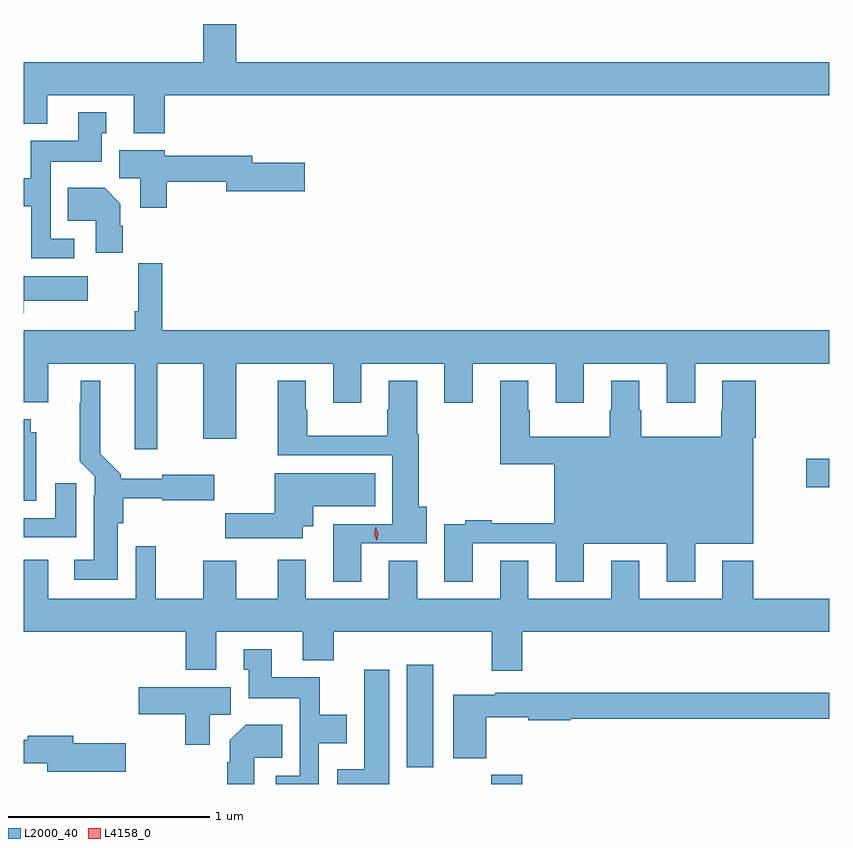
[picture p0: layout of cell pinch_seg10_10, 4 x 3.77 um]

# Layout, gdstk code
import gdstk
lib = gdstk.Library(unit=1e-6, precision=1e-09)
def R(c, l, rs):  # rectangles x0, y0, x1, y1
    for r in rs: c.add(gdstk.rectangle(r[:2], r[2:], *l))
def P(c, l, *ps):  # polygons
    for p in ps: c.add(gdstk.Polygon(p, *l))
L2000_40 = (2000, 40)
L4158_0 = (4158, 0)

pinch_seg10_10 = lib.new_cell('pinch_seg10_10')
R(pinch_seg10_10, L2000_40, [(1065.537,1252.941,1065.692,1252.987), (1065.119,1253.025,1065.25,1253.533), (1067.1,1254.413,1067.216,1254.555)])
P(pinch_seg10_10, L2000_40, [(1063.916,1256.36),(1067.216,1256.36),(1067.216,1256.524),(1064.272,1256.524),(1064.272,1256.713),(1064.108,1256.713),(1064.108,1256.524),(1063.216,1256.524),(1063.216,1256.219),(1063.333,1256.219),(1063.333,1256.36),(1063.763,1256.36),(1063.763,1256.171),(1063.916,1256.171)],
  [(1063.468,1255.647),(1063.35,1255.647),(1063.35,1256.03),(1063.603,1256.03),(1063.603,1256.172),(1063.627,1256.172),(1063.627,1256.275),(1063.487,1256.275),(1063.487,1256.134),(1063.252,1256.134),(1063.252,1255.948),(1063.216,1255.948),(1063.216,1255.808),(1063.254,1255.808),(1063.254,1255.551),(1063.468,1255.551)],
  [(1063.926,1255.93),(1064.222,1255.93),(1064.222,1255.883),(1064.611,1255.883),(1064.611,1256.025),(1064.35,1256.025),(1064.35,1256.059),(1063.918,1256.059),(1063.918,1256.086),(1063.691,1256.086),(1063.691,1255.948),(1063.796,1255.948),(1063.796,1255.8),(1063.926,1255.8)],
  [(1063.709,1255.712),(1063.696,1255.712),(1063.696,1255.822),(1063.618,1255.9),(1063.435,1255.9),(1063.435,1255.736),(1063.574,1255.736),(1063.574,1255.578),(1063.709,1255.578)],
  [(1063.217,1255.34),(1063.534,1255.34),(1063.534,1255.462),(1063.216,1255.462),(1063.216,1255.278),(1063.217,1255.278)],
  [(1063.904,1255.525),(1063.786,1255.525),(1063.786,1255.288),(1063.768,1255.288),(1063.768,1255.192),(1063.216,1255.192),(1063.216,1254.836),(1063.339,1254.836),(1063.339,1255.028),(1063.769,1255.028),(1063.769,1254.603),(1063.879,1254.603),(1063.879,1255.028),(1064.108,1255.028),(1064.108,1254.654),(1064.272,1254.654),(1064.272,1255.028),(1064.753,1255.028),(1064.753,1254.834),(1064.893,1254.834),(1064.893,1255.028),(1065.305,1255.028),(1065.305,1254.834),(1065.445,1254.834),(1065.445,1255.028),(1065.857,1255.028),(1065.857,1254.834),(1065.997,1254.834),(1065.997,1255.028),(1066.409,1255.028),(1066.409,1254.834),(1066.549,1254.834),(1066.549,1255.028),(1067.216,1255.028),(1067.216,1255.192),(1063.904,1255.192)],
  [(1065.445,1254.135),(1065.857,1254.135),(1065.857,1253.946),(1065.997,1253.946),(1065.997,1254.134),(1066.409,1254.134),(1066.409,1253.946),(1066.549,1253.946),(1066.549,1254.134),(1066.837,1254.134),(1066.837,1254.66),(1066.85,1254.66),(1066.85,1254.943),(1066.685,1254.943),(1066.685,1254.795),(1066.678,1254.795),(1066.678,1254.664),(1066.281,1254.664),(1066.281,1254.795),(1066.273,1254.795),(1066.273,1254.943),(1066.133,1254.943),(1066.133,1254.795),(1066.126,1254.795),(1066.126,1254.664),(1065.729,1254.664),(1065.729,1254.795),(1065.721,1254.795),(1065.721,1254.943),(1065.581,1254.943),(1065.581,1254.527),(1065.851,1254.527),(1065.851,1254.236),(1065.541,1254.236),(1065.541,1254.251),(1065.409,1254.251),(1065.409,1254.231),(1065.305,1254.231),(1065.305,1253.946),(1065.445,1253.946)],
  [(1063.684,1254.234),(1063.71,1254.234),(1063.71,1254.358),(1063.904,1254.358),(1063.904,1254.349),(1064.162,1254.349),(1064.162,1254.476),(1063.904,1254.476),(1063.904,1254.457),(1063.698,1254.457),(1063.698,1254.478),(1063.597,1254.58),(1063.597,1254.943),(1063.499,1254.943),(1063.499,1254.833),(1063.495,1254.833),(1063.495,1254.542),(1063.569,1254.468),(1063.569,1254.374),(1063.565,1254.374),(1063.565,1254.055),(1063.467,1254.055),(1063.467,1253.954),(1063.684,1253.954)],
  [(1064.893,1254.135),(1065.217,1254.135),(1065.217,1254.316),(1065.177,1254.316),(1065.177,1254.676),(1065.169,1254.676),(1065.169,1254.943),(1065.029,1254.943),(1065.029,1254.798),(1065.022,1254.798),(1065.022,1254.67),(1064.625,1254.67),(1064.625,1254.798),(1064.617,1254.798),(1064.617,1254.943),(1064.477,1254.943),(1064.477,1254.573),(1065.047,1254.573),(1065.047,1254.231),(1064.753,1254.231),(1064.753,1253.946),(1064.893,1253.946)],
  [(1063.279,1254.687),(1063.252,1254.687),(1063.252,1254.751),(1063.216,1254.751),(1063.216,1254.346),(1063.279,1254.346)],
  [(1064.602,1254.221),(1064.653,1254.221),(1064.653,1254.32),(1064.962,1254.32),(1064.962,1254.484),(1064.462,1254.484),(1064.462,1254.285),(1064.218,1254.285),(1064.218,1254.161),(1064.602,1254.161)],
  [(1063.477,1254.433),(1063.373,1254.433),(1063.373,1254.261),(1063.216,1254.261),(1063.216,1254.165),(1063.477,1254.165)],
  [(1065.692,1253.696),(1067.216,1253.696),(1067.216,1253.86),(1066.838,1253.86),(1066.838,1254.049),(1066.685,1254.049),(1066.685,1253.86),(1066.273,1253.86),(1066.273,1254.049),(1066.133,1254.049),(1066.133,1253.86),(1065.721,1253.86),(1065.721,1254.05),(1065.581,1254.05),(1065.581,1253.86),(1065.169,1253.86),(1065.169,1254.049),(1065.029,1254.049),(1065.029,1253.86),(1064.617,1253.86),(1064.617,1254.055),(1064.477,1254.055),(1064.477,1253.86),(1064.272,1253.86),(1064.272,1254.049),(1064.108,1254.049),(1064.108,1253.86),(1063.872,1253.86),(1063.872,1254.121),(1063.773,1254.121),(1063.773,1253.86),(1063.339,1253.86),(1063.339,1254.055),(1063.216,1254.055),(1063.216,1253.696),(1064.021,1253.696),(1064.021,1253.507),(1064.173,1253.507),(1064.173,1253.696),(1064.603,1253.696),(1064.603,1253.555),(1064.756,1253.555),(1064.756,1253.696),(1065.539,1253.696),(1065.539,1253.502),(1065.692,1253.502)],
  [(1064.682,1253.144),(1064.821,1253.144),(1064.821,1253.284),(1064.685,1253.284),(1064.685,1253.47),(1064.449,1253.47),(1064.449,1253.611),(1064.309,1253.611),(1064.309,1253.508),(1064.333,1253.508),(1064.333,1253.366),(1064.586,1253.366),(1064.586,1252.983),(1064.469,1252.983),(1064.469,1252.941),(1064.682,1252.941)],
  [(1065.031,1253.509),(1064.906,1253.509),(1064.906,1253.014),(1064.772,1253.014),(1064.772,1252.941),(1065.031,1252.941)],
  [(1064.14,1253.284),(1064.245,1253.284),(1064.245,1253.422),(1063.788,1253.422),(1063.788,1253.288),(1064.018,1253.288),(1064.018,1253.136),(1064.14,1253.136)],
  [(1065.512,1253.273),(1065.72,1253.273),(1065.72,1253.258),(1065.93,1253.258),(1065.93,1253.266),(1067.216,1253.266),(1067.216,1253.395),(1065.558,1253.395),(1065.558,1253.383),(1065.35,1253.383),(1065.35,1253.069),(1065.512,1253.069)],
  [(1064.362,1253.072),(1064.501,1253.072),(1064.501,1253.236),(1064.318,1253.236),(1064.24,1253.158),(1064.24,1253.048),(1064.228,1253.048),(1064.228,1252.941),(1064.362,1252.941)],
  [(1063.723,1253.144),(1063.462,1253.144),(1063.462,1253.18),(1063.238,1253.18),(1063.238,1253.16),(1063.216,1253.16),(1063.216,1253.044),(1063.334,1253.044),(1063.334,1253.002),(1063.723,1253.002)])
P(pinch_seg10_10, L4158_0, [(1064.968,1254.149),(1064.968,1254.149),(1064.957,1254.183),(1064.965,1254.218),(1064.965,1254.219),(1064.965,1254.218),(1064.976,1254.184),(1064.968,1254.149)])

lib.write_gds('pinch_seg10_10.gds')
